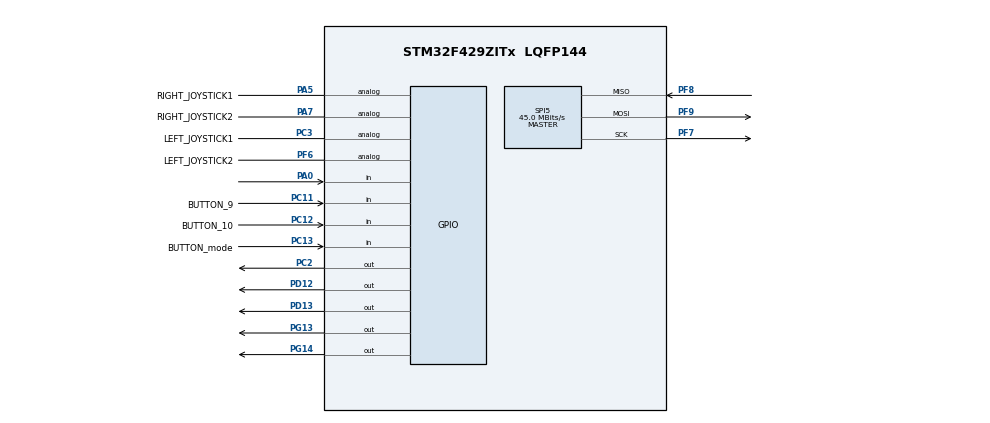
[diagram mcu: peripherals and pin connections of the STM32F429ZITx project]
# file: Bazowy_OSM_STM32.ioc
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Dma.Request0=SPI5_TX
Dma.SPI5_TX.0.Direction=DMA_MEMORY_TO_PERIPH
Dma.SPI5_TX.0.FIFOMode=DMA_FIFOMODE_DISABLE
Dma.SPI5_TX.0.Instance=DMA2_Stream4
Dma.SPI5_TX.0.MemDataAlignment=DMA_MDATAALIGN_BYTE
Dma.SPI5_TX.0.MemInc=DMA_MINC_ENABLE
Dma.SPI5_TX.0.Mode=DMA_CIRCULAR
Dma.SPI5_TX.0.PeriphDataAlignment=DMA_PDATAALIGN_BYTE
Dma.SPI5_TX.0.PeriphInc=DMA_PINC_DISABLE
Dma.SPI5_TX.0.Priority=DMA_PRIORITY_LOW
FREERTOS.BinarySemaphores01=BinarySem01,Dynamic,NULL
FREERTOS.Tasks01=LCD_Task,8,128,StartLCDTask,Default,NULL,Dynamic,NULL,NULL;LED1_task,24,128,StartTaskLED1,Default,NULL,Dynamic,NULL,NULL;LED2_tack,24,128,StartTaskLED2,Default,NULL,Dynamic,NULL,NULL;Reg_task,16,128,Reg_task_init,Default,NULL,Dynamic,NULL,NULL;Read_Peripheral,8,128,StartRead_Peripheral,Default,NULL,Dynamic,NULL,NULL
FREERTOS.configUSE_NEWLIB_REENTRANT=1
Mcu.Family=STM32F4
Mcu.Name=STM32F429ZITx
Mcu.Package=LQFP144
NVIC.DMA2_Stream4_IRQn=true\:5\:0\:false\:false\:true\:true\:false\:true\:true
NVIC.PriorityGroup=NVIC_PRIORITYGROUP_4
PA0/WKUP.Signal=GPIO_Input
PA13.Mode=Serial_Wire
PA13.Signal=SYS_JTMS-SWDIO
PA14.Mode=Serial_Wire
PA14.Signal=SYS_JTCK-SWCLK
PA5.GPIO_Label=RIGHT_JOYSTICK1
PA5.Signal=GPIO_Analog
PA7.GPIO_Label=RIGHT_JOYSTICK2
PA7.Signal=GPIO_Analog
PC11.GPIO_Label=BUTTON_9
PC11.Signal=GPIO_Input
PC12.GPIO_Label=BUTTON_10
PC12.Signal=GPIO_Input
PC13.GPIO_Label=BUTTON_mode
PC13.Signal=GPIO_Input
PC2.GPIO_Speed=GPIO_SPEED_FREQ_VERY_HIGH
PC2.Signal=GPIO_Output
PC3.GPIO_Label=LEFT_JOYSTICK1
PC3.Signal=GPIO_Analog
PD12.GPIO_Speed=GPIO_SPEED_FREQ_VERY_HIGH
PD12.Signal=GPIO_Output
PD13.GPIO_Speed=GPIO_SPEED_FREQ_VERY_HIGH
PD13.Signal=GPIO_Output
PF6.GPIO_Label=LEFT_JOYSTICK2
PF6.Signal=GPIO_Analog
PF7.Mode=Full_Duplex_Master
PF7.Signal=SPI5_SCK
PF8.Mode=Full_Duplex_Master
PF8.Signal=SPI5_MISO
PF9.Mode=Full_Duplex_Master
PF9.Signal=SPI5_MOSI
PG13.Signal=GPIO_Output
PG14.Signal=GPIO_Output
PH0/OSC_IN.Mode=HSE-External-Oscillator
PH0/OSC_IN.Signal=RCC_OSC_IN
PH1/OSC_OUT.Mode=HSE-External-Oscillator
PH1/OSC_OUT.Signal=RCC_OSC_OUT
ProjectManager.HeapSize=0x200
ProjectManager.StackSize=0x400
ProjectManager.TargetToolchain=STM32CubeIDE
RCC.48MHZClocksFreq_Value=45000000
RCC.AHBFreq_Value=180000000
RCC.APB1CLKDivider=RCC_HCLK_DIV4
RCC.APB1Freq_Value=45000000
RCC.APB1TimFreq_Value=90000000
RCC.APB2CLKDivider=RCC_HCLK_DIV2
RCC.APB2Freq_Value=90000000
RCC.APB2TimFreq_Value=180000000
RCC.CortexFreq_Value=180000000
RCC.HCLKFreq_Value=180000000
RCC.HSE_VALUE=8000000
RCC.HSI_VALUE=16000000
RCC.LSE_VALUE=32768
RCC.PLLM=4
RCC.PLLN=180
RCC.PLLQ=8
RCC.PLLSourceVirtual=RCC_PLLSOURCE_HSE
RCC.SYSCLKFreq_VALUE=180000000
RCC.SYSCLKSource=RCC_SYSCLKSOURCE_PLLCLK
RCC.VCOOutputFreq_Value=360000000
SPI5.BaudRatePrescaler=SPI_BAUDRATEPRESCALER_2
SPI5.CalculateBaudRate=45.0 MBits/s
SPI5.Direction=SPI_DIRECTION_2LINES
SPI5.Mode=SPI_MODE_MASTER
SPI5.VirtualType=VM_MASTER
VP_FREERTOS_VS_CMSIS_V2.Mode=CMSIS_V2
VP_RNG_VS_RNG.Mode=RNG_Activate
board=custom

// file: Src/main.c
/* USER CODE BEGIN Header */
/**
  ******************************************************************************
  * @file           : main.c
  * @brief          : Main program body
  ******************************************************************************
  * @attention
  *
  * <h2><center>&copy; Copyright (c) 2020 STMicroelectronics.
  * All rights reserved.</center></h2>
  *
  * This software component is licensed by ST under BSD 3-Clause license,
  * the "License"; You may not use this file except in compliance with the
  * License. You may obtain a copy of the License at:
  *                        opensource.org/licenses/BSD-3-Clause
  *
  ******************************************************************************
  */
/* USER CODE END Header */
#include "main.h"
#include "cmsis_os.h"
#include "dma.h"
#include "rng.h"
#include "spi.h"
#include "gpio.h"

/* USER CODE BEGIN Includes */
#include "ll_spi_ili9341.h"
#include "myfunctions.h"
#include "reg2.h"
/* USER CODE END Includes */

void SystemClock_Config(void);
void MX_FREERTOS_Init(void);
/* USER CODE BEGIN PFP */
void move_square_C(void);

/* USER CODE END PFP */

/* USER CODE BEGIN 0 */
extern uint8_t DmaSpiCnt;
/* USER CODE END 0 */

int main(void)
{

  /* MCU Configuration--------------------------------------------------------*/

  /* Reset of all peripherals, Initializes the Flash interface and the Systick. */
  HAL_Init();

  /* Configure the system clock */
  SystemClock_Config();

  /* Initialize all configured peripherals */
  MX_GPIO_Init();
  MX_DMA_Init();
  MX_RNG_Init();
  MX_SPI5_Init();
  /* USER CODE BEGIN 2 */
  LL_DMA_DisableStream(DMA2, LL_DMA_STREAM_4);
  LL_DMA_ClearFlag_TC4(DMA2);
  LL_DMA_ClearFlag_TE4(DMA2);
  LL_SPI_EnableDMAReq_TX(SPI5);
  LL_DMA_EnableIT_TC(DMA2, LL_DMA_STREAM_4);
  LL_DMA_EnableIT_TE(DMA2, LL_DMA_STREAM_4);
  LL_SPI_Enable(SPI5);

  /* USER CODE END 2 */

  /* Init scheduler */
  osKernelInitialize();  /* Call init function for freertos objects (in freertos.c) */
  MX_FREERTOS_Init();

  /* Start scheduler */
  osKernelStart();

  /* We should never get here as control is now taken by the scheduler */
  /* Infinite loop */
  while (1)
  {

  }
}

void SystemClock_Config(void)
{
  LL_FLASH_SetLatency(LL_FLASH_LATENCY_5);
  while(LL_FLASH_GetLatency()!= LL_FLASH_LATENCY_5)
  {
  }
  LL_PWR_SetRegulVoltageScaling(LL_PWR_REGU_VOLTAGE_SCALE1);
  LL_PWR_EnableOverDriveMode();
  LL_RCC_HSE_Enable();

   /* Wait till HSE is ready */
  while(LL_RCC_HSE_IsReady() != 1)
  {

  }
  LL_RCC_PLL_ConfigDomain_SYS(LL_RCC_PLLSOURCE_HSE, LL_RCC_PLLM_DIV_4, 180, LL_RCC_PLLP_DIV_2);
  LL_RCC_PLL_ConfigDomain_48M(LL_RCC_PLLSOURCE_HSE, LL_RCC_PLLM_DIV_4, 180, LL_RCC_PLLQ_DIV_8);
  LL_RCC_PLL_Enable();

   /* Wait till PLL is ready */
  while(LL_RCC_PLL_IsReady() != 1)
  {

  }
  LL_RCC_SetAHBPrescaler(LL_RCC_SYSCLK_DIV_1);
  LL_RCC_SetAPB1Prescaler(LL_RCC_APB1_DIV_4);
  LL_RCC_SetAPB2Prescaler(LL_RCC_APB2_DIV_2);
  LL_RCC_SetSysClkSource(LL_RCC_SYS_CLKSOURCE_PLL);

   /* Wait till System clock is ready */
  while(LL_RCC_GetSysClkSource() != LL_RCC_SYS_CLKSOURCE_STATUS_PLL)
  {

  }
  LL_SetSystemCoreClock(180000000);

   /* Update the time base */
  if (HAL_InitTick (TICK_INT_PRIORITY) != HAL_OK)
  {
    Error_Handler();
  }
  LL_RCC_SetTIMPrescaler(LL_RCC_TIM_PRESCALER_TWICE);
}

/* USER CODE BEGIN 4 */
void DMA1_Stream4_TransferComplete(void)
{
  LL_DMA_ClearFlag_TC4(DMA2);
  DmaSpiCnt--;

  if(DmaSpiCnt == 0)
  {
    LL_DMA_DisableStream(DMA2, LL_DMA_STREAM_4);
    DmaSpiCnt=1;
    CS_DESELECT();
  }
}
/* USER CODE END 4 */

void HAL_TIM_PeriodElapsedCallback(TIM_HandleTypeDef *htim)
{
  if (htim->Instance == TIM6) {
    HAL_IncTick();
  }
}

void Error_Handler(void)
{
}

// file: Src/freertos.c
/* USER CODE BEGIN Header */
/**
  ******************************************************************************
  * File Name          : freertos.c
  * Description        : Code for freertos applications
  ******************************************************************************
  * @attention
  *
  * <h2><center>&copy; Copyright (c) 2022 STMicroelectronics.
  * All rights reserved.</center></h2>
  *
  * This software component is licensed by ST under Ultimate Liberty license
  * SLA0044, the "License"; You may not use this file except in compliance with
  * the License. You may obtain a copy of the License at:
  *                             www.st.com/SLA0044
  *
  ******************************************************************************
  */
/* USER CODE END Header */

#include "FreeRTOS.h"
#include "task.h"
#include "main.h"
#include "cmsis_os.h"

/* USER CODE BEGIN Includes */
#include "ll_spi_ili9341.h"
#include "reg2.h"
#include <stdbool.h>
/* USER CODE END Includes */

/* USER CODE BEGIN Variables */
PID_s pid;
Inercja_s in3;
Inercja_s in4;
float tp = 0.1;
/* USER CODE END Variables */
/* Definitions for LCD_Task */
osThreadId_t LCD_TaskHandle;
const osThreadAttr_t LCD_Task_attributes = {
  .name = "LCD_Task",
  .stack_size = 128 * 4,
  .priority = (osPriority_t) osPriorityLow,
};
/* Definitions for LED1_task */
osThreadId_t LED1_taskHandle;
const osThreadAttr_t LED1_task_attributes = {
  .name = "LED1_task",
  .stack_size = 128 * 4,
  .priority = (osPriority_t) osPriorityNormal,
};
/* Definitions for LED2_tack */
osThreadId_t LED2_tackHandle;
const osThreadAttr_t LED2_tack_attributes = {
  .name = "LED2_tack",
  .stack_size = 128 * 4,
  .priority = (osPriority_t) osPriorityNormal,
};
/* Definitions for Reg_task */
osThreadId_t Reg_taskHandle;
const osThreadAttr_t Reg_task_attributes = {
  .name = "Reg_task",
  .stack_size = 128 * 4,
  .priority = (osPriority_t) osPriorityBelowNormal,
};
/* Definitions for Read_Peripheral */
osThreadId_t Read_PeripheralHandle;
const osThreadAttr_t Read_Peripheral_attributes = {
  .name = "Read_Peripheral",
  .stack_size = 128 * 4,
  .priority = (osPriority_t) osPriorityLow,
};
/* Definitions for BinarySem01 */
osSemaphoreId_t BinarySem01Handle;
const osSemaphoreAttr_t BinarySem01_attributes = {
  .name = "BinarySem01"
};

/* USER CODE BEGIN FunctionPrototypes */
uint8_t DmaSpiCnt=1;

int x = 120, y = 160; // Skladowe x,y polozenia kwadratu
int x_old = 120, y_old = 160;
int dx = 1, dy = 1; // Skladowe wektora predkosci dx, dy

unsigned char *ptr;
unsigned char napis[] = {"Press the blue button..."};
int dl_n = 24;
unsigned int nx = 0;
unsigned int ny = 280;
unsigned int  key;

/* USER CODE END FunctionPrototypes */

void StartLCDTask(void *argument);
void StartTaskLED1(void *argument);
void StartTaskLED2(void *argument);
void Reg_task_init(void *argument);
void StartRead_Peripheral(void *argument);

void MX_FREERTOS_Init(void); /* (MISRA C 2004 rule 8.1) */

void MX_FREERTOS_Init(void) {

  /* Create the semaphores(s) */
  /* creation of BinarySem01 */
  BinarySem01Handle = osSemaphoreNew(1, 1, &BinarySem01_attributes);

  /* Create the thread(s) */
  /* creation of LCD_Task */
  LCD_TaskHandle = osThreadNew(StartLCDTask, NULL, &LCD_Task_attributes);

  /* creation of LED1_task */
  LED1_taskHandle = osThreadNew(StartTaskLED1, NULL, &LED1_task_attributes);

  /* creation of LED2_tack */
  LED2_tackHandle = osThreadNew(StartTaskLED2, NULL, &LED2_tack_attributes);

  /* creation of Reg_task */
  Reg_taskHandle = osThreadNew(Reg_task_init, NULL, &Reg_task_attributes);

  /* creation of Read_Peripheral */
  Read_PeripheralHandle = osThreadNew(StartRead_Peripheral, NULL, &Read_Peripheral_attributes);

}

void StartLCDTask(void *argument)
{
  /* USER CODE BEGIN StartLCDTask */
	TFTDisplay_ILI9341_Initialization(240, 320);
	  TFTDisplay_ILI9341_SetRotation(2);
//	  TFTDisplay_ILI9341_FillScreen(TFT_COLOR_ILI9341_GREEN);
//	  osDelay(500);
//	  TFTDisplay_ILI9341_FillScreen(TFT_COLOR_ILI9341_RED);
//	  osDelay(500);
	  TFTDisplay_ILI9341_FillScreen(TFT_COLOR_ILI9341_BLUE);
	  osDelay(100);

	  TFTDisplay_ILI9341_DrawCircle(140, 140, 50, TFT_COLOR_ILI9341_GREEN);

	  for (int i=0; i < dl_n; i++){
		  TFTDisplay_ILI9341_DrawChar (nx, ny, *ptr);
		  nx= nx +10;
		  ptr++;

	  }

	  TFTDisplay_ILI9341_DrawLine(0, 0, 240, 240, TFT_COLOR_ILI9341_RED);
	  TFTDisplay_ILI9341_DrawPixel(140, 140, TFT_COLOR_ILI9341_WHITE);

	while(!(GPIOA -> IDR & 0x0001)) //sprawdzanie klawisza pod PA0
		{
		osDelay(2);					//aby nie blokować innych tasków
		}

  /* Infinite loop */
  for(;;)
  {
	  for(int i=0; i< 10; i++)
	  {
		  TFTDisplay_ILI9341_DrawChar(100, 100, 0x30 + i);
		  osDelay(1000);
	  }
	  osDelay(1);
//	  	TFTDisplay_ILI9341_FillRect(x, y, x+30, y+30, TFT_COLOR_ILI9341_RED);

//	  	move_square_C();
//	  	TFTDisplay_ILI9341_FillRect(x_old, y_old, x_old+30, y_old+30, TFT_COLOR_ILI9341_BLUE);
//	  	x_old = x;
//	  	y_old = y;

  }
  /* USER CODE END StartLCDTask */
}

void StartTaskLED1(void *argument)
{
  /* USER CODE BEGIN StartTaskLED1 */
  /* Infinite loop */
	for(;;)
	{
	  // osSemaphoreAcquire(BinarySem01Handle, osWaitForever);  //synchronizacja tasków - zwolnienie w TaskLED2
	  LL_GPIO_TogglePin(GPIOG, LL_GPIO_PIN_13);
	  osDelay(500);
	}
  /* USER CODE END StartTaskLED1 */
}

void StartTaskLED2(void *argument)
{
  /* USER CODE BEGIN StartTaskLED2 */
  /* Infinite loop */
	for(;;)
	{
	  LL_GPIO_TogglePin(GPIOG, LL_GPIO_PIN_14);
	  osDelay(1000);
	  // osSemaphoreRelease(BinarySem01Handle);	//zwolnienie semafora i odblokowanie TaskLED1
	}
  /* USER CODE END StartTaskLED2 */
}

void Reg_task_init(void *argument)
{
  /* USER CODE BEGIN Reg_task_init */
	PID_s_init(&pid, 10, 3, 0.9, tp);
	Inercja_s_init(&in3, 1, tp, 5);
	Inercja_s_init(&in4, 2, tp, 3);
	float expected = 0;
	float output = 0;
  /* Infinite loop */
  for(;;)
  {
    pid.expected = expected;
    pid.input = output;
    Reg_s_step(&pid);
    //output = pid.output;
    in3.input = pid.output;
    Inercja_s_step(&in3);
    in4.input = in3.output;
    Inercja_s_step(&in4);
    output =  in4.output;
    Draw_info((int)output, (int) expected, false);
    osDelay(10);
  }
  /* USER CODE END Reg_task_init */
}

void StartRead_Peripheral(void *argument)
{
  /* USER CODE BEGIN StartRead_Peripheral */
//	LL_ADC_REG_StartConversion(ADC1);
//	int adc_data_pot1;
//	int adc_data_pot2;
//	int adc_data_pot3;
//	int adc_data_pot4;
  /* Infinite loop */
  for(;;)
  {
	  if(LL_GPIO_ReadInputPort(GPIOC)==0x0800){
		  pid.expected += 0.1;
		  TFTDisplay_ILI9341_DrawChar(100, 150, 0x31);
	  }
	  if(LL_GPIO_ReadInputPort(GPIOC)==0x1000){
		  pid.expected -= 0.1;
		  TFTDisplay_ILI9341_DrawChar(100, 150, 0x32);
	  }
	  if(LL_GPIO_ReadInputPort(GPIOC)==0x2000){

	  }

//	  while (LL_ADC_IsActiveFlag_EOC(ADC1) == 0){
//		  osDelay(1);
//	  }
//	  adc_data_pot1 = LL_ADC_REG_ReadConversionData12(ADC1);
//	  while (LL_ADC_IsActiveFlag_EOC(ADC1) == 0){
//		  osDelay(1);
//	  }
//	  adc_data_pot2 = LL_ADC_REG_ReadConversionData12(ADC1);
//	  while (LL_ADC_IsActiveFlag_EOC(ADC1) == 0){
//		  osDelay(1);
//	  }
//	  adc_data_pot3 = LL_ADC_REG_ReadConversionData12(ADC1);
//	  while (LL_ADC_IsActiveFlag_EOC(ADC1) == 0){
//		  osDelay(1);
//	  }
//	  adc_data_pot4 = LL_ADC_REG_ReadConversionData12(ADC1);
//
    osDelay(100);
  }
  /* USER CODE END StartRead_Peripheral */
}
